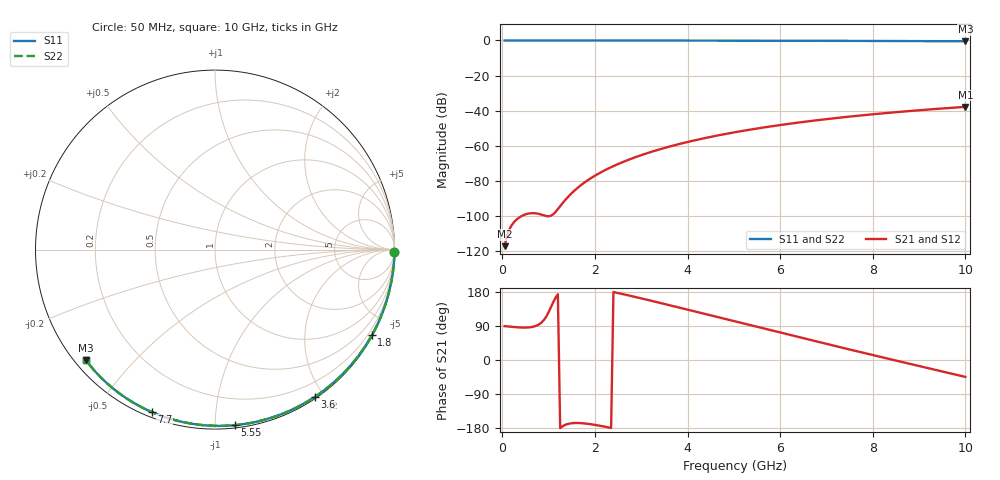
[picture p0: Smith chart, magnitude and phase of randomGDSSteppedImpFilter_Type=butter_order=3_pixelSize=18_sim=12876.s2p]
! freq	dB(S11)	phase(S11)	dB(S12)	phase(S12)
!  dB(S21)	phase(S21)	dB(S22)	phase(S22)
!S-par simulation data
#  GHz  S  DB  R 50
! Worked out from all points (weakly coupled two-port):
!   200 points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, 50 MHz to 10 GHz, reference 50 ohm
!   highest |S21| = -37.79 dB at 10 GHz (marker M1); lowest = -117.1 dB at 50 MHz (marker M2)
!   lowest |S11| = -0.5 dB at 10 GHz (marker M3), VSWR 36.75, Z = 1.55 - j18.4 ohm
!   |S11| at or under -10 dB: nowhere
!   |S22| runs from -0.5 to 0.0 dB; largest |S21 - S12| = 0
!   S11 on the Smith chart (normalised r, x): 50 MHz: open; 1.8 GHz: 0.03, -3.91; 3.6 GHz: 0.02, -1.88; 5.55 GHz: 0.02, -1.12; 7.7 GHz: 0.02, -0.68; 10 GHz: 0.03, -0.37
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0.05  -0.00 -0.8  -117.08 89.4  -117.08 89.4  -0.00 -0.8
0.45  -0.01 -7.3  -99.49 85.5  -99.49 85.5  -0.01 -7.3
0.9  -0.02 -14.5  -99.56 105.8  -99.56 105.8  -0.02 -14.5
1.75  -0.04 -27.9  -81.33 -167.1  -81.33 -167.1  -0.04 -27.9
1.8  -0.04 -28.7  -80.38 -167.7  -80.38 -167.7  -0.04 -28.7
1.85  -0.04 -29.5  -79.48 -168.4  -79.48 -168.4  -0.04 -29.5
2.05  -0.04 -32.6  -76.22 -172.2  -76.22 -172.2  -0.04 -32.6
2.2  -0.04 -34.9  -74.08 -175.6  -74.08 -175.6  -0.04 -34.9
2.55  -0.05 -40.3  -69.77 175.4  -69.77 175.4  -0.05 -40.3
2.95  -0.06 -46.3  -65.73 164.1  -65.73 164.1  -0.06 -46.3
3.4  -0.07 -53.0  -61.95 150.9  -61.95 150.9  -0.07 -53.0
3.6  -0.08 -56.0  -60.47 144.9  -60.47 144.9  -0.08 -56.0
3.9  -0.08 -60.4  -58.43 135.9  -58.43 135.9  -0.08 -60.4
4.3  -0.09 -66.1  -55.99 123.8  -55.99 123.8  -0.09 -66.1
5.05  -0.12 -76.6  -52.11 101.0  -52.11 101.0  -0.12 -76.6
5.55  -0.14 -83.5  -49.91 85.9  -49.91 85.9  -0.14 -83.5
6.1  -0.16 -90.8  -47.77 69.3  -47.77 69.3  -0.16 -90.8
6.7  -0.19 -98.6  -45.71 51.3  -45.71 51.3  -0.19 -98.6
7.7  -0.25 -111.3  -42.79 21.8  -42.79 21.8  -0.25 -111.3
8.35  -0.31 -119.4  -41.17 2.9  -41.17 2.9  -0.31 -119.4
9.2  -0.38 -129.8  -39.30 -21.7  -39.30 -21.7  -0.38 -129.8
10  -0.47 -139.5  -37.79 -44.7  -37.79 -44.7  -0.47 -139.5
